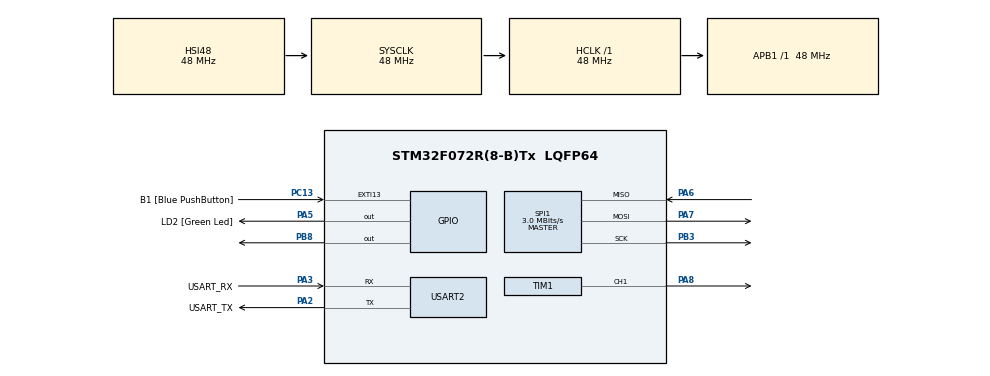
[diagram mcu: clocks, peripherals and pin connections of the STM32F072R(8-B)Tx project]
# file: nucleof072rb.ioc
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Mcu.Family=STM32F0
Mcu.Name=STM32F072R(8-B)Tx
Mcu.Package=LQFP64
PA13.GPIO_Label=TMS
PA13.Mode=Serial_Wire
PA13.Signal=SYS_SWDIO
PA14.GPIO_Label=TCK
PA14.Mode=Serial_Wire
PA14.Signal=SYS_SWCLK
PA2.GPIO_Label=USART_TX
PA2.GPIO_Mode=GPIO_MODE_AF_PP
PA2.GPIO_PuPd=GPIO_NOPULL
PA2.GPIO_Speed=GPIO_SPEED_FREQ_LOW
PA2.Mode=Asynchronous
PA2.Signal=USART2_TX
PA3.GPIO_Label=USART_RX
PA3.GPIO_Mode=GPIO_MODE_AF_PP
PA3.GPIO_PuPd=GPIO_NOPULL
PA3.GPIO_Speed=GPIO_SPEED_FREQ_LOW
PA3.Mode=Asynchronous
PA3.Signal=USART2_RX
PA5.GPIO_Label=LD2 [Green Led]
PA5.GPIO_Mode=GPIO_MODE_OUTPUT_PP
PA5.GPIO_PuPd=GPIO_NOPULL
PA5.GPIO_Speed=GPIO_SPEED_FREQ_LOW
PA5.Signal=GPIO_Output
PA6.Mode=Full_Duplex_Master
PA6.Signal=SPI1_MISO
PA7.Mode=Full_Duplex_Master
PA7.Signal=SPI1_MOSI
PA8.Signal=S_TIM1_CH1
PB3.Mode=Full_Duplex_Master
PB3.Signal=SPI1_SCK
PB8.Signal=GPIO_Output
PC13.GPIO_Label=B1 [Blue PushButton]
PC13.GPIO_ModeDefaultEXTI=GPIO_MODE_IT_FALLING
PC13.Signal=GPXTI13
PC14-OSC32_IN.Mode=LSE-External-Oscillator
PC14-OSC32_IN.Signal=RCC_OSC32_IN
PC15-OSC32_OUT.Mode=LSE-External-Oscillator
PC15-OSC32_OUT.Signal=RCC_OSC32_OUT
PF0-OSC_IN.Mode=HSE-External-Clock-Source
PF0-OSC_IN.Signal=RCC_OSC_IN
PF1-OSC_OUT.Signal=RCC_OSC_OUT
ProjectManager.HeapSize=0x200
ProjectManager.StackSize=0x400
ProjectManager.TargetToolchain=STM32CubeIDE
RCC.AHBFreq_Value=48000000
RCC.APB1Freq_Value=48000000
RCC.APB1TimFreq_Value=48000000
RCC.FLatency-AdvancedSettings=FLASH_LATENCY_1
RCC.HCLKFreq_Value=48000000
RCC.PLLDivider=RCC_PREDIV_DIV2
RCC.PLLMUL=RCC_PLL_MUL12
RCC.PREFETCH_ENABLE-AdvancedSettings=1
RCC.SYSCLKFreq_VALUE=48000000
RCC.SYSCLKSource=RCC_SYSCLKSOURCE_HSI48
SH.S_TIM1_CH1.0=TIM1_CH1,PWM Generation1 CH1
SPI1.BaudRatePrescaler=SPI_BAUDRATEPRESCALER_16
SPI1.CLKPhase=SPI_PHASE_1EDGE
SPI1.CalculateBaudRate=3.0 MBits/s
SPI1.DataSize=SPI_DATASIZE_8BIT
SPI1.Direction=SPI_DIRECTION_2LINES
SPI1.Mode=SPI_MODE_MASTER
SPI1.VirtualType=VM_MASTER
TIM1.Channel-PWM\ Generation1\ CH1=TIM_CHANNEL_1
TIM1.Period=60000
TIM1.Prescaler=15
USART2.VirtualMode=VM_ASYNC
USART2.VirtualMode-Asynchronous=VM_ASYNC
VP_TIM1_VS_ClockSourceINT.Mode=Internal
board=NUCLEO-F072RB

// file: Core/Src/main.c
/* USER CODE BEGIN Header */
/**
  ******************************************************************************
  * @file           : main.c
  * @brief          : Main program body
  ******************************************************************************
  * @attention
  *
  * <h2><center>&copy; Copyright (c) 2021 STMicroelectronics.
  * All rights reserved.</center></h2>
  *
  * This software component is licensed by ST under BSD 3-Clause license,
  * the "License"; You may not use this file except in compliance with the
  * License. You may obtain a copy of the License at:
  *                        opensource.org/licenses/BSD-3-Clause
  *
  ******************************************************************************
  */
/* USER CODE END Header */
#include "main.h"
#include "spi.h"
#include "tim.h"
#include "usart.h"
#include "gpio.h"

/* USER CODE BEGIN Includes */
#include <stdio.h>
/* USER CODE END Includes */

void SystemClock_Config(void);

/* USER CODE BEGIN 0 */
static uint8_t spi_rx_buf_[3] = { 0, 0, 0 };
// seven leading zeros in first byte to transmit
// single ended read from channel 0
// third tx byte only as dummy to allow for receive
static uint8_t spi_tx_buf_[3] = { 1, 1 << 7, 0 };

// should be in ms?
static const uint32_t SPI_TIMEOUT = 100;
static const uint32_t UART_TIMEOUT = 100;
static const uint16_t MAX_ADC_READING = (1 << 11) - 1;
static uint8_t MSG[30];

/* USER CODE END 0 */

int main(void)
{

  /* MCU Configuration--------------------------------------------------------*/

  /* Reset of all peripherals, Initializes the Flash interface and the Systick. */
  HAL_Init();

  /* Configure the system clock */
  SystemClock_Config();

  /* Initialize all configured peripherals */
  MX_GPIO_Init();
  MX_USART2_UART_Init();
  MX_SPI1_Init();
  MX_TIM1_Init();
  /* USER CODE BEGIN 2 */

  // enable pwm output signal
  HAL_TIM_PWM_Start(&htim1, TIM_CHANNEL_1);

  uint16_t adc_reading;
  /* USER CODE END 2 */

  /* Infinite loop */
  while (1)
  {

    /* USER CODE BEGIN 3 */

	  // set chip select low for communication
	  HAL_GPIO_WritePin(GPIOB, GPIO_PIN_8, GPIO_PIN_RESET);
	  // do actual spi transmit + receive
	  HAL_StatusTypeDef status = HAL_SPI_TransmitReceive(&hspi1, spi_tx_buf_, spi_rx_buf_, 3, SPI_TIMEOUT);
	  // reset chip select to high
	  HAL_GPIO_WritePin(GPIOB, GPIO_PIN_8, GPIO_PIN_SET);

	  if (status != HAL_OK) {
		  sprintf((char*)MSG, "Uart not ok, status: %d\n\r", status);
		  HAL_UART_Transmit(&huart2, MSG, sizeof(MSG), UART_TIMEOUT);
	  }

	  adc_reading = ((spi_rx_buf_[1] & 0x03) << 8) + spi_rx_buf_[2];
	  // adjust counter compare register
	  TIM1->CCR1 = adc_reading * TIM1->ARR / MAX_ADC_READING * 0.05 + TIM1->ARR * 0.05;

	  HAL_Delay(10);
  }
  /* USER CODE END 3 */
}

void SystemClock_Config(void)
{
  RCC_OscInitTypeDef RCC_OscInitStruct = {0};
  RCC_ClkInitTypeDef RCC_ClkInitStruct = {0};
  RCC_PeriphCLKInitTypeDef PeriphClkInit = {0};

  /** Initializes the RCC Oscillators according to the specified parameters
  * in the RCC_OscInitTypeDef structure.
  */
  RCC_OscInitStruct.OscillatorType = RCC_OSCILLATORTYPE_HSI48;
  RCC_OscInitStruct.HSI48State = RCC_HSI48_ON;
  RCC_OscInitStruct.PLL.PLLState = RCC_PLL_NONE;
  if (HAL_RCC_OscConfig(&RCC_OscInitStruct) != HAL_OK)
  {
    Error_Handler();
  }
  /** Initializes the CPU, AHB and APB buses clocks
  */
  RCC_ClkInitStruct.ClockType = RCC_CLOCKTYPE_HCLK|RCC_CLOCKTYPE_SYSCLK
                              |RCC_CLOCKTYPE_PCLK1;
  RCC_ClkInitStruct.SYSCLKSource = RCC_SYSCLKSOURCE_HSI48;
  RCC_ClkInitStruct.AHBCLKDivider = RCC_SYSCLK_DIV1;
  RCC_ClkInitStruct.APB1CLKDivider = RCC_HCLK_DIV1;

  if (HAL_RCC_ClockConfig(&RCC_ClkInitStruct, FLASH_LATENCY_1) != HAL_OK)
  {
    Error_Handler();
  }
  PeriphClkInit.PeriphClockSelection = RCC_PERIPHCLK_USART2;
  PeriphClkInit.Usart2ClockSelection = RCC_USART2CLKSOURCE_PCLK1;
  if (HAL_RCCEx_PeriphCLKConfig(&PeriphClkInit) != HAL_OK)
  {
    Error_Handler();
  }
}

void Error_Handler(void)
{
  __disable_irq();
  while (1)
  {
  }
}

/************************ (C) COPYRIGHT STMicroelectronics *****END OF FILE****/
